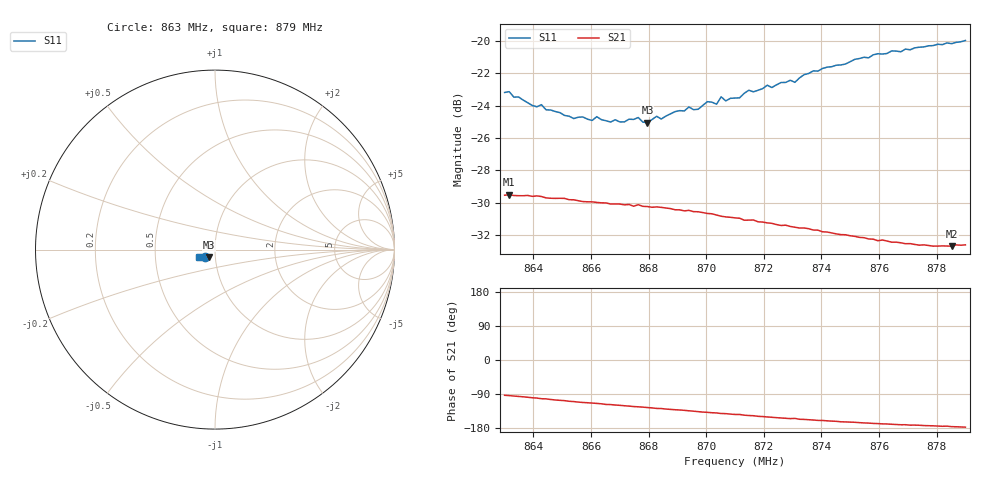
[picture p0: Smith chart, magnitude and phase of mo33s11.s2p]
# HZ S RI R 50
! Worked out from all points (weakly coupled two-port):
!   101 points, 863 MHz to 879 MHz, reference 50 ohm
!   highest |S21| = -29.50 dB at 863.16 MHz (marker M1); lowest = -32.7 dB at 878.52 MHz (marker M2)
!   lowest |S11| = -25.1 dB at 867.96 MHz (marker M3), VSWR 1.12, Z = 46.4 - j4.03 ohm
!   |S11| at or under -10 dB: start of sweep to end of sweep
!   S12 and S22 are empty: the file has one direction only
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8.63e8  -0.0563 -0.0402  -0.00182 -0.0333  0 0  0 0
8.6316e8  -0.0561 -0.0412  -0.00232 -0.0334  0 0  0 0
8.6396e8  -0.0497 -0.0389  -0.00553 -0.0327  0 0  0 0
8.654e8  -0.042 -0.0394  -0.0109 -0.0304  0 0  0 0
8.6572e8  -0.0422 -0.04  -0.012 -0.0296  0 0  0 0
8.6668e8  -0.039 -0.0403  -0.0146 -0.0278  0 0  0 0
8.6764e8  -0.0384 -0.0434  -0.0172 -0.026  0 0  0 0
8.6796e8  -0.0353 -0.0433  -0.0179 -0.0251  0 0  0 0
8.6828e8  -0.0364 -0.0458  -0.0188 -0.0243  0 0  0 0
8.6844e8  -0.0352 -0.0453  -0.0189 -0.0241  0 0  0 0
8.694e8  -0.0364 -0.0508  -0.0209 -0.0215  0 0  0 0
8.6972e8  -0.0357 -0.05  -0.0215 -0.0205  0 0  0 0
8.7004e8  -0.0372 -0.0531  -0.0218 -0.0196  0 0  0 0
8.7036e8  -0.0367 -0.0521  -0.0221 -0.0188  0 0  0 0
8.7052e8  -0.0396 -0.0542  -0.0224 -0.018  0 0  0 0
8.71e8  -0.0394 -0.0537  -0.0229 -0.0168  0 0  0 0
8.7212e8  -0.046 -0.0565  -0.0238 -0.0136  0 0  0 0
8.7308e8  -0.0468 -0.0578  -0.0239 -0.0116  0 0  0 0
8.7372e8  -0.0535 -0.0604  -0.0243 -0.0096  0 0  0 0
8.7644e8  -0.0741 -0.0561  -0.0235 -0.00432  0 0  0 0
8.7852e8  -0.087 -0.0449  -0.0232 -0.00168  0 0  0 0
8.79e8  -0.0914 -0.0409  -0.0235 -0.00114  0 0  0 0
